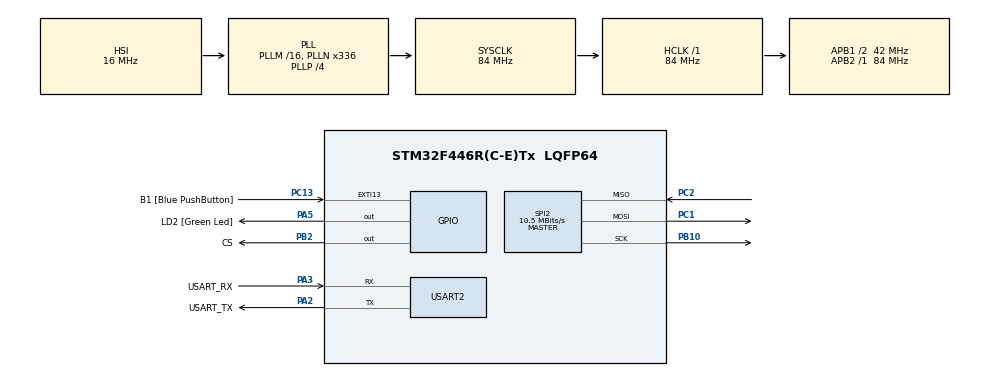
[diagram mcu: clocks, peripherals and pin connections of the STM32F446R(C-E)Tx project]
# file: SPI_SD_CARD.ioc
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FATFS._MAX_SS=4096
FATFS._USE_LFN=1
Mcu.Family=STM32F4
Mcu.Name=STM32F446R(C-E)Tx
Mcu.Package=LQFP64
NVIC.PriorityGroup=NVIC_PRIORITYGROUP_0
NVIC.SPI2_IRQn=true\:0\:0\:false\:false\:true\:true\:true
NVIC.TIM2_IRQn=true\:0\:0\:false\:false\:true\:true\:true
NVIC.USART2_IRQn=true\:0\:0\:false\:false\:true\:true\:true
PA13.GPIO_Label=TMS
PA13.Mode=Serial_Wire
PA13.Signal=SYS_JTMS-SWDIO
PA14.GPIO_Label=TCK
PA14.Mode=Serial_Wire
PA14.Signal=SYS_JTCK-SWCLK
PA2.GPIO_Label=USART_TX
PA2.Mode=Asynchronous
PA2.Signal=USART2_TX
PA3.GPIO_Label=USART_RX
PA3.Mode=Asynchronous
PA3.Signal=USART2_RX
PA5.GPIO_Label=LD2 [Green Led]
PA5.Signal=GPIO_Output
PB10.Mode=Full_Duplex_Master
PB10.Signal=SPI2_SCK
PB2.GPIO_Label=CS
PB2.Signal=GPIO_Output
PB3.GPIO_Label=SWO
PB3.Signal=SYS_JTDO-SWO
PC1.Mode=Full_Duplex_Master
PC1.Signal=SPI2_MOSI
PC13.GPIO_Label=B1 [Blue PushButton]
PC13.GPIO_ModeDefaultEXTI=GPIO_MODE_IT_FALLING
PC13.Signal=GPXTI13
PC14-OSC32_IN.Mode=LSE-External-Oscillator
PC14-OSC32_IN.Signal=RCC_OSC32_IN
PC15-OSC32_OUT.Mode=LSE-External-Oscillator
PC15-OSC32_OUT.Signal=RCC_OSC32_OUT
PC2.Mode=Full_Duplex_Master
PC2.Signal=SPI2_MISO
PH0-OSC_IN.Mode=HSE-External-Oscillator
PH0-OSC_IN.Signal=RCC_OSC_IN
PH1-OSC_OUT.Mode=HSE-External-Oscillator
PH1-OSC_OUT.Signal=RCC_OSC_OUT
ProjectManager.HeapSize=0x200
ProjectManager.StackSize=0x400
ProjectManager.TargetToolchain=STM32CubeIDE
RCC.48MHZClocksFreq_Value=84000000
RCC.AHBFreq_Value=84000000
RCC.APB1CLKDivider=RCC_HCLK_DIV2
RCC.APB1Freq_Value=42000000
RCC.APB1TimFreq_Value=84000000
RCC.APB2Freq_Value=84000000
RCC.APB2TimFreq_Value=84000000
RCC.CortexFreq_Value=84000000
RCC.FLatency-AdvancedSettings=FLASH_LATENCY_2
RCC.HCLKFreq_Value=84000000
RCC.HSE_VALUE=8000000
RCC.HSI_VALUE=16000000
RCC.PLLN=336
RCC.PLLP=RCC_PLLP_DIV4
RCC.SYSCLKFreq_VALUE=84000000
RCC.SYSCLKSource=RCC_SYSCLKSOURCE_PLLCLK
RCC.USBFreq_Value=168000000
RCC.VCOOutputFreq_Value=336000000
SPI2.BaudRatePrescaler=SPI_BAUDRATEPRESCALER_4
SPI2.CalculateBaudRate=10.5 MBits/s
SPI2.Direction=SPI_DIRECTION_2LINES
SPI2.Mode=SPI_MODE_MASTER
SPI2.VirtualType=VM_MASTER
TIM2.Period=249999
TIM2.Prescaler=83
USART2.VirtualMode=VM_ASYNC
VP_FATFS_VS_Generic.Mode=User_defined
VP_TIM2_VS_ClockSourceINT.Mode=Internal
board=NUCLEO-F446RE

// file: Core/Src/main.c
/* USER CODE BEGIN Header */
/**
  ******************************************************************************
  * @file           : main.c
  * @brief          : Main program body
  ******************************************************************************
  * @attention
  *
  * <h2><center>&copy; Copyright (c) 2021 STMicroelectronics.
  * All rights reserved.</center></h2>
  *
  * This software component is licensed by ST under BSD 3-Clause license,
  * the "License"; You may not use this file except in compliance with the
  * License. You may obtain a copy of the License at:
  *                        opensource.org/licenses/BSD-3-Clause
  *
  ******************************************************************************
  */
/* USER CODE END Header */
#include "main.h"
#include "fatfs.h"

/* USER CODE BEGIN Includes */

#include "fatfs_sd.h"
#include "string.h"

/* USER CODE END Includes */

SPI_HandleTypeDef hspi2;

TIM_HandleTypeDef htim2;

UART_HandleTypeDef huart2;

void SystemClock_Config(void);
static void MX_GPIO_Init(void);
static void MX_USART2_UART_Init(void);
static void MX_SPI2_Init(void);
static void MX_TIM2_Init(void);

/* USER CODE BEGIN 0 */

FATFS fs;    //file system
FIL fil;     //file
FRESULT fresult;    // to store the result
char buffer[1024];       //to store data

UINT br, bw;           //file read/write count

// capacity related variables
FATFS *pfs;
DWORD fre_clust;
uint32_t total, free_space;

// to send the data to the UART
void send_uart (char *string)
{
	uint8_t len = strlen(string);
	HAL_UART_Transmit(&huart2, (uint8_t*)string, len, 2000);   //transmit in the blocking mode
}

// to find the size of data in the buffer
int bufsize (char *buf)
{
	int i = 0;
	while (*buf++ != '\0') i++;
	return i;
}

//clear the buffer
void bufclear (void)
{
	for (int i=0; i<1024; i++)
	{
		buffer[i] = '\0';
	}
}

/* USER CODE END 0 */

int main(void)
{

  /* MCU Configuration--------------------------------------------------------*/

  /* Reset of all peripherals, Initializes the Flash interface and the Systick. */
  HAL_Init();

  /* Configure the system clock */
  SystemClock_Config();

  /* Initialize all configured peripherals */
  MX_GPIO_Init();
  MX_USART2_UART_Init();
  MX_SPI2_Init();
  MX_TIM2_Init();
  MX_FATFS_Init();
  /* USER CODE BEGIN 2 */

  HAL_TIM_Base_Start_IT(&htim2);

  // Mount SD Card
  	  fresult = f_mount(&fs, "",0);
  	  if(fresult != FR_OK)
  		  {
  		  	  send_uart("error in mounting SD_CARD...\r\n");
  		  }
  	  else
  		  {
  		  	  send_uart("SD CARD mounted successfully...\r\n");
  		  }

//*******  Card capacity details ********

  	  //Check free space
  	  f_getfree("", &fre_clust, &pfs);

  	  total = (uint32_t)((pfs->n_fatent-2) * pfs->csize*0.5);
  	  sprintf (buffer, "SD CARD Total Size: \t%lu\r\n", total);
  	  send_uart(buffer);
  	  bufclear();
  	  free_space = (uint32_t)(fre_clust * pfs->csize*0.5);
  	  sprintf(buffer, "SD CARD Free Space: \t%lu\r\n", free_space);
  	  send_uart(buffer);

//******* The following operation is using PUTS and GETS ********

  	  //Open file to write
  	  fresult = f_open(&fil, "file1.txt", FA_OPEN_ALWAYS | FA_READ | FA_WRITE);

  	  //Writing text
  	  fresult = f_puts("This data is from the First FILE\r\n\n", &fil);

  	  //send_uart ("File1.txt created and the data is written\r\n");

  	  //Close file
  	  fresult = f_close(&fil);

  	  send_uart ("File1.txt created and the data is written\r\n");

  	  //Open file to read
  	  fresult = f_open(&fil, "file1.txt", FA_READ);

  	  //Read string from the file
  	  f_gets(buffer, fil.fptr, &fil);

  	  send_uart(buffer);

  	  //Close file again
  	  f_close(&fil);

  	  bufclear();

//******* The following operation is using f_write and f_read ********

  	  // Create second file with read/write access and open it
  	  fresult = f_open(&fil, "file2.txt", FA_OPEN_ALWAYS | FA_READ | FA_WRITE);

  	  //Writing text
  	  strcpy(buffer, "This is File 2 and it says Hello from controllerstech\r\n");
  	  fresult = f_write(&fil, buffer, bufsize(buffer), &bw);
  	  send_uart("File2.txt created and data is written\r\n");
  	  send_uart(buffer);

  	  //Close file
  	  f_close(&fil);
  	  bufclear();

  	  //Open second file to read
  	  fresult = f_open(&fil, "file2.txt", FA_READ);

  	  //Read data from the file
  	  f_read(&fil, buffer, fil.fptr, &br);
  	  send_uart(buffer);

  	  //Close file
  	  f_close(&fil);
  	  bufclear();

  /* USER CODE END 2 */

  /* Infinite loop */
  while (1)
  {

  }
}

void SystemClock_Config(void)
{
  RCC_OscInitTypeDef RCC_OscInitStruct = {0};
  RCC_ClkInitTypeDef RCC_ClkInitStruct = {0};

  /** Configure the main internal regulator output voltage
  */
  __HAL_RCC_PWR_CLK_ENABLE();
  __HAL_PWR_VOLTAGESCALING_CONFIG(PWR_REGULATOR_VOLTAGE_SCALE3);
  /** Initializes the RCC Oscillators according to the specified parameters
  * in the RCC_OscInitTypeDef structure.
  */
  RCC_OscInitStruct.OscillatorType = RCC_OSCILLATORTYPE_HSI;
  RCC_OscInitStruct.HSIState = RCC_HSI_ON;
  RCC_OscInitStruct.HSICalibrationValue = RCC_HSICALIBRATION_DEFAULT;
  RCC_OscInitStruct.PLL.PLLState = RCC_PLL_ON;
  RCC_OscInitStruct.PLL.PLLSource = RCC_PLLSOURCE_HSI;
  RCC_OscInitStruct.PLL.PLLM = 16;
  RCC_OscInitStruct.PLL.PLLN = 336;
  RCC_OscInitStruct.PLL.PLLP = RCC_PLLP_DIV4;
  RCC_OscInitStruct.PLL.PLLQ = 2;
  RCC_OscInitStruct.PLL.PLLR = 2;
  if (HAL_RCC_OscConfig(&RCC_OscInitStruct) != HAL_OK)
  {
    Error_Handler();
  }
  /** Initializes the CPU, AHB and APB buses clocks
  */
  RCC_ClkInitStruct.ClockType = RCC_CLOCKTYPE_HCLK|RCC_CLOCKTYPE_SYSCLK
                              |RCC_CLOCKTYPE_PCLK1|RCC_CLOCKTYPE_PCLK2;
  RCC_ClkInitStruct.SYSCLKSource = RCC_SYSCLKSOURCE_PLLCLK;
  RCC_ClkInitStruct.AHBCLKDivider = RCC_SYSCLK_DIV1;
  RCC_ClkInitStruct.APB1CLKDivider = RCC_HCLK_DIV2;
  RCC_ClkInitStruct.APB2CLKDivider = RCC_HCLK_DIV1;

  if (HAL_RCC_ClockConfig(&RCC_ClkInitStruct, FLASH_LATENCY_2) != HAL_OK)
  {
    Error_Handler();
  }
}

static void MX_SPI2_Init(void)
{

  /* SPI2 parameter configuration*/
  hspi2.Instance = SPI2;
  hspi2.Init.Mode = SPI_MODE_MASTER;
  hspi2.Init.Direction = SPI_DIRECTION_2LINES;
  hspi2.Init.DataSize = SPI_DATASIZE_8BIT;
  hspi2.Init.CLKPolarity = SPI_POLARITY_LOW;
  hspi2.Init.CLKPhase = SPI_PHASE_1EDGE;
  hspi2.Init.NSS = SPI_NSS_SOFT;
  hspi2.Init.BaudRatePrescaler = SPI_BAUDRATEPRESCALER_4;
  hspi2.Init.FirstBit = SPI_FIRSTBIT_MSB;
  hspi2.Init.TIMode = SPI_TIMODE_DISABLE;
  hspi2.Init.CRCCalculation = SPI_CRCCALCULATION_DISABLE;
  hspi2.Init.CRCPolynomial = 10;
  if (HAL_SPI_Init(&hspi2) != HAL_OK)
  {
    Error_Handler();
  }

}

static void MX_TIM2_Init(void)
{

  TIM_ClockConfigTypeDef sClockSourceConfig = {0};
  TIM_MasterConfigTypeDef sMasterConfig = {0};

  htim2.Instance = TIM2;
  htim2.Init.Prescaler = 83;
  htim2.Init.CounterMode = TIM_COUNTERMODE_UP;
  htim2.Init.Period = 249999;
  htim2.Init.ClockDivision = TIM_CLOCKDIVISION_DIV1;
  htim2.Init.AutoReloadPreload = TIM_AUTORELOAD_PRELOAD_DISABLE;
  if (HAL_TIM_Base_Init(&htim2) != HAL_OK)
  {
    Error_Handler();
  }
  sClockSourceConfig.ClockSource = TIM_CLOCKSOURCE_INTERNAL;
  if (HAL_TIM_ConfigClockSource(&htim2, &sClockSourceConfig) != HAL_OK)
  {
    Error_Handler();
  }
  sMasterConfig.MasterOutputTrigger = TIM_TRGO_RESET;
  sMasterConfig.MasterSlaveMode = TIM_MASTERSLAVEMODE_DISABLE;
  if (HAL_TIMEx_MasterConfigSynchronization(&htim2, &sMasterConfig) != HAL_OK)
  {
    Error_Handler();
  }

}

static void MX_USART2_UART_Init(void)
{

  huart2.Instance = USART2;
  huart2.Init.BaudRate = 115200;
  huart2.Init.WordLength = UART_WORDLENGTH_8B;
  huart2.Init.StopBits = UART_STOPBITS_1;
  huart2.Init.Parity = UART_PARITY_NONE;
  huart2.Init.Mode = UART_MODE_TX_RX;
  huart2.Init.HwFlowCtl = UART_HWCONTROL_NONE;
  huart2.Init.OverSampling = UART_OVERSAMPLING_16;
  if (HAL_UART_Init(&huart2) != HAL_OK)
  {
    Error_Handler();
  }

}

static void MX_GPIO_Init(void)
{
  GPIO_InitTypeDef GPIO_InitStruct = {0};

  /* GPIO Ports Clock Enable */
  __HAL_RCC_GPIOC_CLK_ENABLE();
  __HAL_RCC_GPIOH_CLK_ENABLE();
  __HAL_RCC_GPIOA_CLK_ENABLE();
  __HAL_RCC_GPIOB_CLK_ENABLE();

  /*Configure GPIO pin Output Level */
  HAL_GPIO_WritePin(LD2_GPIO_Port, LD2_Pin, GPIO_PIN_RESET);

  /*Configure GPIO pin Output Level */
  HAL_GPIO_WritePin(CS_GPIO_Port, CS_Pin, GPIO_PIN_RESET);

  /*Configure GPIO pin : B1_Pin */
  GPIO_InitStruct.Pin = B1_Pin;
  GPIO_InitStruct.Mode = GPIO_MODE_IT_FALLING;
  GPIO_InitStruct.Pull = GPIO_NOPULL;
  HAL_GPIO_Init(B1_GPIO_Port, &GPIO_InitStruct);

  /*Configure GPIO pin : LD2_Pin */
  GPIO_InitStruct.Pin = LD2_Pin;
  GPIO_InitStruct.Mode = GPIO_MODE_OUTPUT_PP;
  GPIO_InitStruct.Pull = GPIO_NOPULL;
  GPIO_InitStruct.Speed = GPIO_SPEED_FREQ_LOW;
  HAL_GPIO_Init(LD2_GPIO_Port, &GPIO_InitStruct);

  /*Configure GPIO pin : CS_Pin */
  GPIO_InitStruct.Pin = CS_Pin;
  GPIO_InitStruct.Mode = GPIO_MODE_OUTPUT_PP;
  GPIO_InitStruct.Pull = GPIO_NOPULL;
  GPIO_InitStruct.Speed = GPIO_SPEED_FREQ_LOW;
  HAL_GPIO_Init(CS_GPIO_Port, &GPIO_InitStruct);

}

/* USER CODE BEGIN 4 */

void HAL_TIM_PeriodElapsedCallback(TIM_HandleTypeDef *htim)
{
	if (htim->Instance == TIM2) //If the source is TIM2
	{
		  HAL_GPIO_TogglePin(LD2_GPIO_Port, LD2_Pin);
	}
}

/* USER CODE END 4 */

void Error_Handler(void)
{
  __disable_irq();
  while (1)
  {
  }
}
